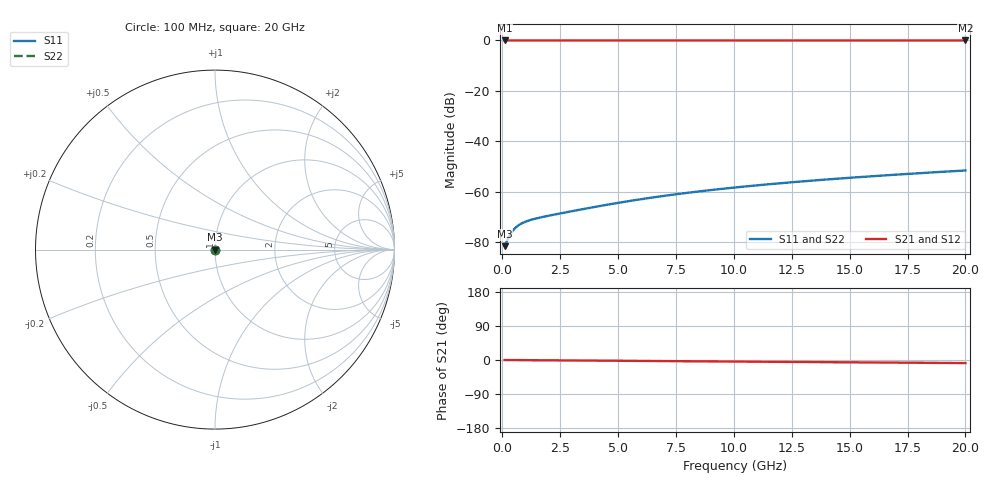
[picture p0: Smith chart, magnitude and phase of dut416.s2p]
! Touchstone file exported from HFSS 2026.1.0
!  File:  C:/ffzhzh/LocalFiles/Ansys_Project_Files/temp_train_TSV_416_1783020702_53980.aedt
!  Generated:  03:33:19 AM Jul  3, 2026
!  Design:  TSV
!  Project:  temp_train_TSV_416_1783020702_53980
! Variables:
!  h_bsmrdl = 2um
!  h_ox = 20um
!  h_rdl = 5um
!  h_sub = 79.67um
!  h_tmrdl = 5um
!  h_tsv = 79.67um
!  h_via = 3um
!  l_bsmrdl = 300um
!  l_sub = 427.48um
!  l_tmrdl = 200um
!  m_sub = 200um
!  pitch = 53.75um
!  r_tsv = 13.74um
!  s_tmrdl = 10um
!  w_bsmrdl = 18um
!  w_sub = 500um
!  w_tmrdl = 12um
!  x_tsv_center1 = 206um
!  x_tsv_center2 = 524um
!  x_tsv_center3 = 736um
!  x_tsv_center4 = 1054um
!  x_tsv_center5 = 1266um
!  x_tsv_center6 = 1584um
# GHz S MA R 50.000000
! Terminal data exported
! Port[1] = TSV1_1_T1
! Port[2] = TSV1_1_T2
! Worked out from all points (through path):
!   200 points, 100 MHz to 20 GHz, reference 50 ohm
!   highest |S21| = 0.00 dB at 100 MHz (marker M1); lowest = 0.0 dB at 20 GHz (marker M2)
!   group delay of S21, straight-line fit = 1.13 ps
!   lowest |S11| = -81.5 dB at 100 MHz (marker M3), VSWR 1.00, Z = 50 + j0.00284 ohm
!   |S11| at or under -10 dB: start of sweep to end of sweep
!   |S22| runs from -81.5 to -51.5 dB; largest |S21 - S12| = 4.4e-15
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0.1  8.444e-05 19.6  0.9999 -0.0  0.9999 -0.0  8.444e-05 19.6
! Gamma 0 0 0 0
! Port Impedance 50 0 50 0
0.2  0.0001067 30.0  0.9999 -0.1  0.9999 -0.1  0.0001067 30.0
0.3  0.0001329 33.1  0.9999 -0.1  0.9999 -0.1  0.0001329 33.1
0.4  0.0001584 32.5  0.9999 -0.2  0.9999 -0.2  0.0001584 32.5
0.5  0.0001813 30.3  0.9998 -0.2  0.9998 -0.2  0.0001813 30.3
0.6  0.0002013 27.4  0.9998 -0.3  0.9998 -0.3  0.0002013 27.4
0.7  0.0002186 24.3  0.9998 -0.3  0.9998 -0.3  0.0002186 24.3
0.8  0.0002335 21.2  0.9998 -0.3  0.9998 -0.3  0.0002335 21.2
1  0.0002578 15.3  0.9998 -0.4  0.9998 -0.4  0.0002578 15.3
1.3  0.000286 7.8  0.9997 -0.5  0.9997 -0.5  0.000286 7.8
1.7  0.0003167 -0.4  0.9997 -0.7  0.9997 -0.7  0.0003167 -0.4
2.3  0.0003604 -9.9  0.9996 -0.9  0.9996 -0.9  0.0003604 -9.9
3.5  0.0004591 -23.6  0.9996 -1.4  0.9996 -1.4  0.0004592 -23.6
5.2  0.0006303 -36.8  0.9995 -2.1  0.9995 -2.1  0.0006304 -36.8
6.8  0.0008148 -45.7  0.9994 -2.8  0.9994 -2.8  0.0008149 -45.7
8.4  0.001013 -52.4  0.9993 -3.4  0.9993 -3.4  0.001013 -52.4
10.1  0.001233 -58.0  0.9993 -4.1  0.9993 -4.1  0.001233 -58.0
11.7  0.001447 -62.2  0.9992 -4.8  0.9992 -4.8  0.001448 -62.2
13.4  0.001681 -65.9  0.9992 -5.5  0.9992 -5.5  0.001682 -65.9
15  0.001908 -68.8  0.9991 -6.1  0.9991 -6.1  0.001908 -68.7
16.7  0.002156 -71.4  0.9991 -6.8  0.9991 -6.8  0.002157 -71.3
20  0.002664 -75.5  0.999 -8.1  0.999 -8.1  0.002664 -75.5
